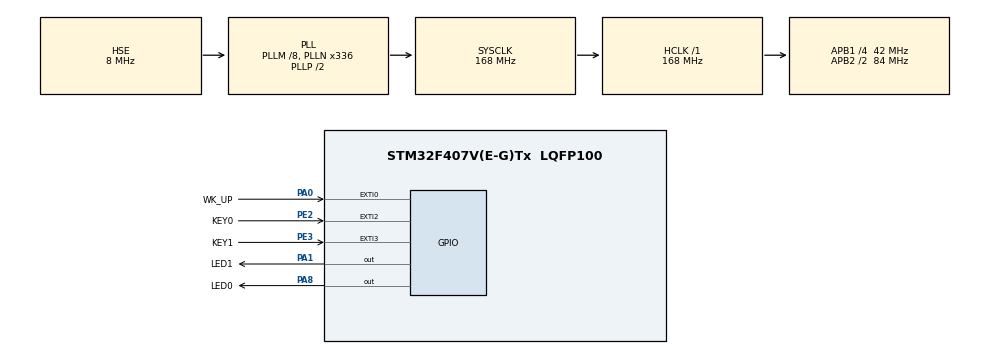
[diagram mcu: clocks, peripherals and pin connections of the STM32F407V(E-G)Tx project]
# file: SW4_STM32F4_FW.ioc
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Mcu.Family=STM32F4
Mcu.Name=STM32F407V(E-G)Tx
Mcu.Package=LQFP100
NVIC.EXTI0_IRQn=true\:1\:0\:true\:false\:true\:true\:true
NVIC.EXTI2_IRQn=true\:1\:0\:true\:false\:true\:true\:true
NVIC.EXTI3_IRQn=true\:1\:0\:true\:false\:true\:true\:true
NVIC.PriorityGroup=NVIC_PRIORITYGROUP_4
PA0-WKUP.GPIO_Label=WK_UP
PA0-WKUP.GPIO_PuPd=GPIO_PULLDOWN
PA0-WKUP.Signal=GPXTI0
PA1.GPIO_Label=LED1
PA1.PinState=GPIO_PIN_SET
PA1.Signal=GPIO_Output
PA13.Mode=Serial_Wire
PA13.Signal=SYS_JTMS-SWDIO
PA14.Mode=Serial_Wire
PA14.Signal=SYS_JTCK-SWCLK
PA8.GPIO_Label=LED0
PA8.PinState=GPIO_PIN_SET
PA8.Signal=GPIO_Output
PC14-OSC32_IN.Mode=LSE-External-Oscillator
PC14-OSC32_IN.Signal=RCC_OSC32_IN
PC15-OSC32_OUT.Mode=LSE-External-Oscillator
PC15-OSC32_OUT.Signal=RCC_OSC32_OUT
PE2.GPIO_Label=KEY0
PE2.GPIO_ModeDefaultEXTI=GPIO_MODE_IT_FALLING
PE2.GPIO_PuPd=GPIO_PULLUP
PE2.Signal=GPXTI2
PE3.GPIO_Label=KEY1
PE3.GPIO_ModeDefaultEXTI=GPIO_MODE_IT_FALLING
PE3.GPIO_PuPd=GPIO_PULLUP
PE3.Signal=GPXTI3
PH0-OSC_IN.Mode=HSE-External-Oscillator
PH0-OSC_IN.Signal=RCC_OSC_IN
PH1-OSC_OUT.Mode=HSE-External-Oscillator
PH1-OSC_OUT.Signal=RCC_OSC_OUT
ProjectManager.HeapSize=0x200
ProjectManager.StackSize=0x400
ProjectManager.TargetToolchain=SW4STM32
RCC.48MHZClocksFreq_Value=84000000
RCC.AHBFreq_Value=168000000
RCC.APB1CLKDivider=RCC_HCLK_DIV4
RCC.APB1Freq_Value=42000000
RCC.APB1TimFreq_Value=84000000
RCC.APB2CLKDivider=RCC_HCLK_DIV2
RCC.APB2Freq_Value=84000000
RCC.APB2TimFreq_Value=168000000
RCC.CortexFreq_Value=168000000
RCC.HCLKFreq_Value=168000000
RCC.HSE_VALUE=8000000
RCC.HSI_VALUE=16000000
RCC.PLLM=8
RCC.PLLN=336
RCC.PLLSourceVirtual=RCC_PLLSOURCE_HSE
RCC.SYSCLKFreq_VALUE=168000000
RCC.SYSCLKSource=RCC_SYSCLKSOURCE_PLLCLK
RCC.VCOOutputFreq_Value=336000000
board=custom

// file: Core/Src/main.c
/* USER CODE BEGIN Header */
/**
  ******************************************************************************
  * @file           : main.c
  * @brief          : Main program body
  ******************************************************************************
  * @attention
  *
  * <h2><center>&copy; Copyright (c) 2022 STMicroelectronics.
  * All rights reserved.</center></h2>
  *
  * This software component is licensed by ST under BSD 3-Clause license,
  * the "License"; You may not use this file except in compliance with the
  * License. You may obtain a copy of the License at:
  *                        opensource.org/licenses/BSD-3-Clause
  *
  ******************************************************************************
  */
/* USER CODE END Header */
#include "main.h"
#include "gpio.h"

/* USER CODE BEGIN Includes */
#include "delay.h"
// #include "exti.h"
/* USER CODE END Includes */

/* USER CODE BEGIN PV */
volatile uint8_t speed = 0;
/* USER CODE END PV */

void SystemClock_Config(void);

int main(void)
{

    /* MCU Configuration--------------------------------------------------------*/

    /* Reset of all peripherals, Initializes the Flash interface and the Systick. */
    HAL_Init();

    /* Configure the system clock */
    SystemClock_Config();

    /* Initialize all configured peripherals */
    MX_GPIO_Init();

    /* Infinite loop */
    while (1)
    {

        /* USER CODE BEGIN 3 */
        if (speed == 0)
        {
            HAL_GPIO_TogglePin(LED1_GPIO_Port, LED1_Pin);
            HAL_Delay(1000);
        } else if (speed == 1)
        {
            HAL_GPIO_TogglePin(LED1_GPIO_Port, LED1_Pin);
            HAL_Delay(200);
        } else
        {
            HAL_GPIO_TogglePin(LED1_GPIO_Port, LED1_Pin);
            HAL_Delay(50);
        }
    }
}
/* USER CODE END 3 */

void SystemClock_Config(void)
{
    RCC_OscInitTypeDef RCC_OscInitStruct = {0};
    RCC_ClkInitTypeDef RCC_ClkInitStruct = {0};

    /** Configure the main internal regulator output voltage
    */
    __HAL_RCC_PWR_CLK_ENABLE();
    __HAL_PWR_VOLTAGESCALING_CONFIG(PWR_REGULATOR_VOLTAGE_SCALE1);
    /** Initializes the RCC Oscillators according to the specified parameters
    * in the RCC_OscInitTypeDef structure.
    */
    RCC_OscInitStruct.OscillatorType = RCC_OSCILLATORTYPE_HSE;
    RCC_OscInitStruct.HSEState = RCC_HSE_ON;
    RCC_OscInitStruct.PLL.PLLState = RCC_PLL_ON;
    RCC_OscInitStruct.PLL.PLLSource = RCC_PLLSOURCE_HSE;
    RCC_OscInitStruct.PLL.PLLM = 8;
    RCC_OscInitStruct.PLL.PLLN = 336;
    RCC_OscInitStruct.PLL.PLLP = RCC_PLLP_DIV2;
    RCC_OscInitStruct.PLL.PLLQ = 4;
    if (HAL_RCC_OscConfig(&RCC_OscInitStruct) != HAL_OK)
    {
        Error_Handler();
    }
    /** Initializes the CPU, AHB and APB buses clocks
    */
    RCC_ClkInitStruct.ClockType = RCC_CLOCKTYPE_HCLK | RCC_CLOCKTYPE_SYSCLK
                                  | RCC_CLOCKTYPE_PCLK1 | RCC_CLOCKTYPE_PCLK2;
    RCC_ClkInitStruct.SYSCLKSource = RCC_SYSCLKSOURCE_PLLCLK;
    RCC_ClkInitStruct.AHBCLKDivider = RCC_SYSCLK_DIV1;
    RCC_ClkInitStruct.APB1CLKDivider = RCC_HCLK_DIV4;
    RCC_ClkInitStruct.APB2CLKDivider = RCC_HCLK_DIV2;

    if (HAL_RCC_ClockConfig(&RCC_ClkInitStruct, FLASH_LATENCY_5) != HAL_OK)
    {
        Error_Handler();
    }
}

/* USER CODE BEGIN 4 */
void HAL_GPIO_EXTI_Callback(uint16_t GPIO_Pin)
{
    switch (GPIO_Pin)
    {
        case GPIO_PIN_0:
            HAL_GPIO_TogglePin(LED0_GPIO_Port, LED0_Pin);
            break;
        case GPIO_PIN_2:
            speed++;
            if (speed == 3)
            {
                speed = 0;
            }
            break;
        case GPIO_PIN_3:
            HAL_GPIO_TogglePin(LED1_GPIO_Port, LED1_Pin);
            break;
        default:
            break;
    }
}
/* USER CODE END 4 */

void Error_Handler(void)
{
    __disable_irq();
    while (1)
    {
    }
}

/************************ (C) COPYRIGHT STMicroelectronics *****END OF FILE****/
